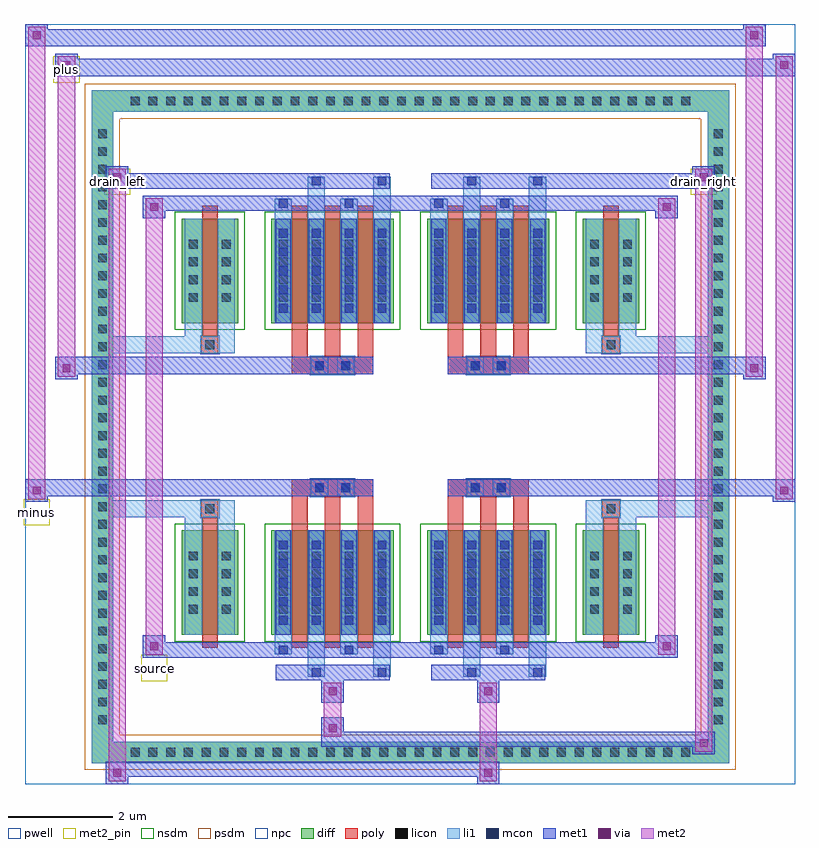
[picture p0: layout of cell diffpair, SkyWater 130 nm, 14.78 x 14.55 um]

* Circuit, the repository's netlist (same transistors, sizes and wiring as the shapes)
* NGSPICE file created from diffpair.ext - technology: sky130A

.subckt diffpair minus drain_right drain_left source plus
X0 drain_right minus source a_n1220_n1288# sky130_fd_pr__nfet_01v8 ad=0.78 pd=4.78 as=0.33 ps=2.33 w=2 l=0.3
X1 drain_right minus source a_n1220_n1288# sky130_fd_pr__nfet_01v8 ad=0.78 pd=4.78 as=0.33 ps=2.33 w=2 l=0.3
X2 a_n1220_n1288# a_n1220_n1288# a_n1220_n1288# a_n1220_n1288# sky130_fd_pr__nfet_01v8 ad=0.78 pd=4.78 as=6.24 ps=38.24 w=2 l=0.3
X3 drain_left plus source a_n1220_n1288# sky130_fd_pr__nfet_01v8 ad=0.78 pd=4.78 as=0.33 ps=2.33 w=2 l=0.3
X4 a_n1220_n1288# a_n1220_n1288# a_n1220_n1288# a_n1220_n1288# sky130_fd_pr__nfet_01v8 ad=0.78 pd=4.78 as=0 ps=0 w=2 l=0.3
X5 drain_left plus source a_n1220_n1288# sky130_fd_pr__nfet_01v8 ad=0.78 pd=4.78 as=0.33 ps=2.33 w=2 l=0.3
X6 a_n1220_n1288# a_n1220_n1288# a_n1220_n1288# a_n1220_n1288# sky130_fd_pr__nfet_01v8 ad=0.78 pd=4.78 as=0 ps=0 w=2 l=0.3
X7 source plus drain_left a_n1220_n1288# sky130_fd_pr__nfet_01v8 ad=0.33 pd=2.33 as=0.33 ps=2.33 w=2 l=0.3
X8 drain_right minus source a_n1220_n1288# sky130_fd_pr__nfet_01v8 ad=0.33 pd=2.33 as=0.78 ps=4.78 w=2 l=0.3
X9 source plus drain_left a_n1220_n1288# sky130_fd_pr__nfet_01v8 ad=0.33 pd=2.33 as=0.33 ps=2.33 w=2 l=0.3
X10 a_n1220_n1288# a_n1220_n1288# a_n1220_n1288# a_n1220_n1288# sky130_fd_pr__nfet_01v8 ad=0.78 pd=4.78 as=0 ps=0 w=2 l=0.3
X11 drain_right minus source a_n1220_n1288# sky130_fd_pr__nfet_01v8 ad=0.33 pd=2.33 as=0.78 ps=4.78 w=2 l=0.3
X12 source minus drain_right a_n1220_n1288# sky130_fd_pr__nfet_01v8 ad=0.33 pd=2.33 as=0.33 ps=2.33 w=2 l=0.3
X13 drain_left plus source a_n1220_n1288# sky130_fd_pr__nfet_01v8 ad=0.33 pd=2.33 as=0.78 ps=4.78 w=2 l=0.3
X14 source minus drain_right a_n1220_n1288# sky130_fd_pr__nfet_01v8 ad=0.33 pd=2.33 as=0.33 ps=2.33 w=2 l=0.3
X15 drain_left plus source a_n1220_n1288# sky130_fd_pr__nfet_01v8 ad=0.33 pd=2.33 as=0.78 ps=4.78 w=2 l=0.3
.ends

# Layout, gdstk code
import gdstk
lib = gdstk.Library(unit=1e-6, precision=5e-09)
def R(c, l, rs):  # rectangles x0, y0, x1, y1
    for r in rs: c.add(gdstk.rectangle(r[:2], r[2:], *l))
def A(c, l, x, y, w, h, nx, ny, dx, dy):  # array of equal rectangles
    R(c, l, [(x+i*dx, y+j*dy, x+i*dx+w, y+j*dy+h) for i in range(nx) for j in range(ny)])
def P(c, l, *ps):  # polygons
    for p in ps: c.add(gdstk.Polygon(p, *l))
pwell = (64, 44)
diff = (65, 20)
poly = (66, 20)
licon = (66, 44)
li1 = (67, 20)
mcon = (67, 44)
met1 = (68, 20)
via = (68, 44)
met2_pin = (69, 16)
met2 = (69, 20)
nsdm = (93, 44)
psdm = (94, 20)
npc = (95, 20)

diffpair = lib.new_cell('diffpair')
R(diffpair, pwell, [(-7.37,-6.84,7.37,7.71), (-4.69,-5.03,-0.01,-0.805), (0.01,-5.03,4.69,-0.805), (-4.69,0.805,-0.01,5.03), (0.01,0.805,4.69,5.03)])
A(diffpair, diff, -5.475, -6.44, 0.41, 0.41, 32, 2, 0.34, 12.47)
A(diffpair, diff, -6.1, -5.815, 0.41, 0.41, 1, 34, 0, 0.34)
A(diffpair, diff, 5.69, -5.815, 0.41, 0.41, 1, 34, 0, 0.34)
R(diffpair, diff, [(-5.475,-6.44,5.475,-6.03), (-6.1,-5.815,-5.69,5.815), (5.69,-5.815,6.1,5.815), (-4.38,-3.985,-3.3,-1.985), (-2.66,-3.985,-0.32,-1.985), (0.32,-3.985,2.66,-1.985), (3.3,-3.985,4.38,-1.985), (-4.38,1.985,-3.3,3.985), (-2.66,1.985,-0.32,3.985), (0.32,1.985,2.66,3.985), (3.3,1.985,4.38,3.985), (-5.475,6.03,5.475,6.44)])
P(diffpair, diff, [(6.1,6.44),(-6.1,6.44),(-6.1,-6.03),(-5.69,-6.03),(-5.69,6.03),(5.69,6.03),(5.69,-6.03),(-5.69,-6.03),(-6.1,-6.03),(-6.1,-6.44),(6.1,-6.44)])
A(diffpair, poly, -2.27, -4.235, 0.3, 2.5, 3, 2, 0.63, 5.97)
A(diffpair, poly, 0.71, -4.235, 0.3, 2.5, 3, 2, 0.63, 5.97)
A(diffpair, poly, -2.27, -1.735, 0.3, 0.4, 3, 2, 0.63, 3.07)
A(diffpair, poly, 0.71, -1.735, 0.3, 0.4, 3, 2, 0.63, 3.07)
R(diffpair, poly, [(-3.99,-4.235,-3.69,-1.735), (3.69,-4.235,3.99,-1.735), (-4.005,-1.735,-3.675,-1.405), (-4.005,-1.735,-3.675,-1.405), (3.675,-1.735,4.005,-1.405), (3.675,-1.735,4.005,-1.405), (-2.27,-1.335,-0.71,-1.005), (-1.905,-1.335,-1.575,-1.005), (-1.405,-1.335,-1.075,-1.005), (0.71,-1.335,2.27,-1.005), (1.075,-1.335,1.405,-1.005), (1.575,-1.335,1.905,-1.005), (-2.27,1.005,-0.71,1.335), (-1.905,1.005,-1.575,1.335), (-1.405,1.005,-1.075,1.335), (0.71,1.005,2.27,1.335), (1.075,1.005,1.405,1.335), (1.575,1.005,1.905,1.335), (-4.005,1.405,-3.675,1.735), (-4.005,1.405,-3.675,1.735), (3.675,1.405,4.005,1.735), (3.675,1.405,4.005,1.735), (-3.99,1.735,-3.69,4.235), (3.69,1.735,3.99,4.235)])
A(diffpair, licon, -5.355, -6.32, 0.17, 0.17, 32, 2, 0.34, 12.47)
A(diffpair, licon, -5.98, -5.695, 0.17, 0.17, 1, 34, 0, 0.34)
A(diffpair, licon, 5.81, -5.695, 0.17, 0.17, 1, 34, 0, 0.34)
A(diffpair, licon, -4.24, -3.58, 0.17, 0.17, 1, 4, 0, 0.34)
A(diffpair, licon, -3.61, -3.58, 0.17, 0.17, 1, 4, 0, 0.34)
A(diffpair, licon, -2.52, -3.58, 0.17, 0.17, 4, 4, 0.63, 0.34)
A(diffpair, licon, 0.46, -3.58, 0.17, 0.17, 4, 4, 0.63, 0.34)
A(diffpair, licon, 3.44, -3.58, 0.17, 0.17, 1, 4, 0, 0.34)
A(diffpair, licon, 4.07, -3.58, 0.17, 0.17, 1, 4, 0, 0.34)
A(diffpair, licon, -4.24, 2.39, 0.17, 0.17, 1, 4, 0, 0.34)
A(diffpair, licon, -3.61, 2.39, 0.17, 0.17, 1, 4, 0, 0.34)
A(diffpair, licon, -2.52, 2.39, 0.17, 0.17, 4, 4, 0.63, 0.34)
A(diffpair, licon, 0.46, 2.39, 0.17, 0.17, 4, 4, 0.63, 0.34)
A(diffpair, licon, 3.44, 2.39, 0.17, 0.17, 1, 4, 0, 0.34)
A(diffpair, licon, 4.07, 2.39, 0.17, 0.17, 1, 4, 0, 0.34)
R(diffpair, licon, [(-3.925,-1.655,-3.755,-1.485), (3.755,-1.655,3.925,-1.485), (-1.825,-1.255,-1.655,-1.085), (-1.325,-1.255,-1.155,-1.085), (1.155,-1.255,1.325,-1.085), (1.655,-1.255,1.825,-1.085), (-1.825,1.085,-1.655,1.255), (-1.325,1.085,-1.155,1.255), (1.155,1.085,1.325,1.255), (1.655,1.085,1.825,1.255), (-3.925,1.485,-3.755,1.655), (3.755,1.485,3.925,1.655)])
A(diffpair, li1, -5.435, -6.4, 0.33, 0.33, 32, 2, 0.34, 12.47)
A(diffpair, li1, -6.06, -5.775, 0.33, 0.33, 1, 34, 0, 0.34)
A(diffpair, li1, 5.73, -5.775, 0.33, 0.33, 1, 34, 0, 0.34)
A(diffpair, li1, -2.6, -3.985, 0.33, 2, 4, 2, 0.63, 5.97)
A(diffpair, li1, 0.38, -3.985, 0.33, 2, 4, 2, 0.63, 5.97)
A(diffpair, li1, -2.52, -3.79, 0.17, 0.17, 4, 5, 0.63, 0.36)
A(diffpair, li1, -2.52, -3.79, 0.17, 1.61, 4, 2, 0.63, 5.97)
A(diffpair, li1, 0.46, -3.79, 0.17, 0.17, 4, 5, 0.63, 0.36)
A(diffpair, li1, 0.46, -3.79, 0.17, 1.61, 4, 2, 0.63, 5.97)
A(diffpair, li1, -4.32, -3.66, 0.33, 0.33, 1, 4, 0, 0.34)
A(diffpair, li1, -3.69, -3.66, 0.33, 0.33, 1, 4, 0, 0.34)
A(diffpair, li1, -2.6, -3.66, 0.33, 0.33, 4, 4, 0.63, 0.34)
A(diffpair, li1, 0.38, -3.66, 0.33, 0.33, 4, 4, 0.63, 0.34)
A(diffpair, li1, 3.36, -3.66, 0.33, 0.33, 1, 4, 0, 0.34)
A(diffpair, li1, 3.99, -3.66, 0.33, 0.33, 1, 4, 0, 0.34)
A(diffpair, li1, -2.52, 2.18, 0.17, 0.17, 4, 5, 0.63, 0.36)
A(diffpair, li1, 0.46, 2.18, 0.17, 0.17, 4, 5, 0.63, 0.36)
A(diffpair, li1, -4.32, 2.31, 0.33, 0.33, 1, 4, 0, 0.34)
A(diffpair, li1, -3.69, 2.31, 0.33, 0.33, 1, 4, 0, 0.34)
A(diffpair, li1, -2.6, 2.31, 0.33, 0.33, 4, 4, 0.63, 0.34)
A(diffpair, li1, 0.38, 2.31, 0.33, 0.33, 4, 4, 0.63, 0.34)
A(diffpair, li1, 3.36, 2.31, 0.33, 0.33, 1, 4, 0, 0.34)
A(diffpair, li1, 3.99, 2.31, 0.33, 0.33, 1, 4, 0, 0.34)
R(diffpair, li1, [(-6.1,-6.44,-5.69,-6.03), (-6.1,-6.44,-5.69,-6.03), (-5.69,-6.44,5.69,-6.03), (5.69,-6.44,6.1,-6.03), (5.69,-6.44,6.1,-6.03), (-6.1,-6.03,-5.69,6.03), (5.69,-6.03,6.1,6.03), (-1.97,-4.79,-1.64,-3.985), (-1.89,-4.79,-1.72,-4.62), (-0.71,-4.79,-0.38,-3.985), (-0.63,-4.79,-0.46,-4.62), (1.01,-4.79,1.34,-3.985), (1.09,-4.79,1.26,-4.62), (2.27,-4.79,2.6,-3.985), (2.35,-4.79,2.52,-4.62), (-2.6,-4.36,-2.27,-3.985), (-2.52,-4.36,-2.35,-4.19), (-1.34,-4.36,-1.01,-3.985), (-1.26,-4.36,-1.09,-4.19), (0.38,-4.36,0.71,-3.985), (0.46,-4.36,0.63,-4.19), (1.64,-4.36,1.97,-3.985), (1.72,-4.36,1.89,-4.19), (-4.32,-3.985,-3.99,-1.985), (-3.69,-3.985,-3.36,-1.985), (3.36,-3.985,3.69,-1.985), (3.99,-3.985,4.32,-1.985), (-4.32,-1.985,-3.99,-1.405), (-3.69,-1.985,-3.36,-1.405), (3.36,-1.985,3.69,-1.405), (3.99,-1.985,4.32,-1.405), (-6.1,-1.735,-4.005,-1.405), (-4.32,-1.735,-4.005,-1.405), (-4.005,-1.735,-3.675,-1.405), (-3.675,-1.735,-3.36,-1.405), (3.36,-1.735,3.675,-1.405), (3.675,-1.735,4.005,-1.405), (3.675,-1.735,6.1,-1.405), (4.005,-1.735,4.32,-1.405), (-1.905,-1.335,-1.575,-1.005), (-1.405,-1.335,-1.075,-1.005), (1.075,-1.335,1.405,-1.005), (1.575,-1.335,1.905,-1.005), (-1.905,1.005,-1.575,1.335), (-1.405,1.005,-1.075,1.335), (1.075,1.005,1.405,1.335), (1.575,1.005,1.905,1.335), (-6.1,1.405,-4.005,1.735), (-4.32,1.405,-4.005,1.735), (-4.32,1.405,-3.99,1.985), (-4.005,1.405,-3.675,1.735), (-3.69,1.405,-3.36,1.985), (-3.675,1.405,-3.36,1.735), (3.36,1.405,3.675,1.735), (3.36,1.405,3.69,1.985), (3.675,1.405,4.005,1.735), (3.675,1.405,6.1,1.735), (3.99,1.405,4.32,1.985), (4.005,1.405,4.32,1.735), (-4.32,1.985,-3.99,3.985), (-3.69,1.985,-3.36,3.985), (3.36,1.985,3.69,3.985), (3.99,1.985,4.32,3.985), (-2.6,3.985,-2.27,4.36), (-1.97,3.985,-1.64,4.79), (-1.34,3.985,-1.01,4.36), (-0.71,3.985,-0.38,4.79), (0.38,3.985,0.71,4.36), (1.01,3.985,1.34,4.79), (1.64,3.985,1.97,4.36), (2.27,3.985,2.6,4.79), (-2.52,4.19,-2.35,4.36), (-1.26,4.19,-1.09,4.36), (0.46,4.19,0.63,4.36), (1.72,4.19,1.89,4.36), (-1.89,4.62,-1.72,4.79), (-0.63,4.62,-0.46,4.79), (1.09,4.62,1.26,4.79), (2.35,4.62,2.52,4.79), (-6.1,6.03,-5.69,6.44), (-6.1,6.03,-5.69,6.44), (-5.69,6.03,5.69,6.44), (5.69,6.03,6.1,6.44), (5.69,6.03,6.1,6.44)])
A(diffpair, mcon, -2.52, -3.79, 0.17, 0.17, 4, 5, 0.63, 0.36)
A(diffpair, mcon, 0.46, -3.79, 0.17, 0.17, 4, 5, 0.63, 0.36)
A(diffpair, mcon, -2.52, 2.18, 0.17, 0.17, 4, 5, 0.63, 0.36)
A(diffpair, mcon, 0.46, 2.18, 0.17, 0.17, 4, 5, 0.63, 0.36)
R(diffpair, mcon, [(-1.89,-4.79,-1.72,-4.62), (-0.63,-4.79,-0.46,-4.62), (1.09,-4.79,1.26,-4.62), (2.35,-4.79,2.52,-4.62), (-2.52,-4.36,-2.35,-4.19), (-1.26,-4.36,-1.09,-4.19), (0.46,-4.36,0.63,-4.19), (1.72,-4.36,1.89,-4.19), (-1.825,-1.255,-1.655,-1.085), (-1.325,-1.255,-1.155,-1.085), (1.155,-1.255,1.325,-1.085), (1.655,-1.255,1.825,-1.085), (-1.825,1.085,-1.655,1.255), (-1.325,1.085,-1.155,1.255), (1.155,1.085,1.325,1.255), (1.655,1.085,1.825,1.255), (-2.52,4.19,-2.35,4.36), (-1.26,4.19,-1.09,4.36), (0.46,4.19,0.63,4.36), (1.72,4.19,1.89,4.36), (-1.89,4.62,-1.72,4.79), (-0.63,4.62,-0.46,4.79), (1.09,4.62,1.26,4.79), (2.35,4.62,2.52,4.79)])
A(diffpair, met1, -2.58, -3.985, 0.29, 2, 4, 2, 0.63, 5.97)
A(diffpair, met1, 0.4, -3.985, 0.29, 2, 4, 2, 0.63, 5.97)
A(diffpair, met1, -2.58, -3.85, 0.29, 0.29, 4, 5, 0.63, 0.36)
A(diffpair, met1, 0.4, -3.85, 0.29, 0.29, 4, 5, 0.63, 0.36)
A(diffpair, met1, -2.58, 2.12, 0.29, 0.29, 4, 5, 0.63, 0.36)
A(diffpair, met1, 0.4, 2.12, 0.29, 0.29, 4, 5, 0.63, 0.36)
R(diffpair, met1, [(-5.83,-6.84,-5.4,-6.41), (1.275,-6.84,1.705,-6.41), (-5.83,-6.7,1.705,-6.41), (5.4,-6.27,5.83,-5.84), (-1.705,-6.13,5.83,-5.84), (-1.705,-5.99,-1.275,-5.56), (-1.705,-5.28,-1.275,-4.85), (1.275,-5.28,1.705,-4.85), (-2.58,-4.85,-0.4,-4.56), (-1.95,-4.85,-1.66,-4.56), (-0.69,-4.85,-0.4,-4.56), (0.4,-4.85,2.58,-4.56), (1.03,-4.85,1.32,-4.56), (2.29,-4.85,2.58,-4.56), (-5.12,-4.42,-4.69,-3.99), (-5.12,-4.42,-2.58,-4.13), (-2.58,-4.42,-2.29,-4.13), (-2.58,-4.42,-0.4,-4.13), (-1.32,-4.42,-1.03,-4.13), (-0.4,-4.42,0.4,-4.13), (0.4,-4.42,0.69,-4.13), (0.4,-4.42,2.58,-4.13), (1.66,-4.42,1.95,-4.13), (2.58,-4.42,5.12,-4.13), (4.69,-4.42,5.12,-3.99), (-7.37,-1.435,-6.94,-1.005), (6.94,-1.435,7.37,-1.005), (-7.37,-1.335,-0.71,-1.005), (-2.27,-1.335,-0.71,-1.005), (0.71,-1.335,2.27,-1.005), (0.71,-1.335,7.37,-1.005), (-1.885,-1.315,-1.595,-1.025), (-1.385,-1.315,-1.095,-1.025), (1.095,-1.315,1.385,-1.025), (1.595,-1.315,1.885,-1.025), (-6.8,0.905,-6.37,1.335), (6.37,0.905,6.8,1.335), (-6.8,1.005,-2.27,1.335), (-2.27,1.005,-0.71,1.335), (0.71,1.005,2.27,1.335), (2.27,1.005,6.8,1.335), (-1.885,1.025,-1.595,1.315), (-1.385,1.025,-1.095,1.315), (1.095,1.025,1.385,1.315), (1.595,1.025,1.885,1.315), (-5.12,3.99,-4.69,4.42), (4.69,3.99,5.12,4.42), (-5.12,4.13,-2.58,4.42), (-2.58,4.13,-2.29,4.42), (-2.58,4.13,-0.4,4.42), (-1.32,4.13,-1.03,4.42), (-0.4,4.13,0.4,4.42), (0.4,4.13,0.69,4.42), (0.4,4.13,2.58,4.42), (1.66,4.13,1.95,4.42), (2.58,4.13,5.12,4.42), (-5.83,4.56,-5.4,4.99), (-5.83,4.56,-2.58,4.85), (-2.58,4.56,-0.4,4.85), (-1.95,4.56,-1.66,4.85), (-0.69,4.56,-0.4,4.85), (0.4,4.56,2.58,4.85), (1.03,4.56,1.32,4.85), (2.29,4.56,2.58,4.85), (2.58,4.56,5.83,4.85), (5.4,4.56,5.83,4.99), (-6.8,6.71,-6.37,7.14), (-6.8,6.71,-4.69,7.04), (-4.69,6.71,4.69,7.04), (4.69,6.71,7.37,7.04), (6.94,6.71,7.37,7.14), (-7.37,7.28,-6.94,7.71), (-7.37,7.28,-4.69,7.61), (-4.69,7.28,4.69,7.61), (4.69,7.28,6.8,7.61), (6.37,7.28,6.8,7.71)])
R(diffpair, via, [(-5.69,-6.7,-5.54,-6.55), (1.415,-6.7,1.565,-6.55), (5.54,-6.13,5.69,-5.98), (-1.565,-5.85,-1.415,-5.7), (-1.565,-5.14,-1.415,-4.99), (1.415,-5.14,1.565,-4.99), (-4.98,-4.28,-4.83,-4.13), (4.83,-4.28,4.98,-4.13), (-7.23,-1.295,-7.08,-1.145), (7.08,-1.295,7.23,-1.145), (-6.66,1.045,-6.51,1.195), (6.51,1.045,6.66,1.195), (-4.98,4.13,-4.83,4.28), (4.83,4.13,4.98,4.28), (-5.69,4.7,-5.54,4.85), (5.54,4.7,5.69,4.85), (-6.66,6.85,-6.51,7), (7.08,6.85,7.23,7), (-7.23,7.42,-7.08,7.57), (6.51,7.42,6.66,7.57)])
R(diffpair, met2_pin, [(-5.155,-4.87,-4.655,-4.37), (-7.405,-1.885,-6.905,-1.385), (-5.865,4.44,-5.365,4.94), (5.365,4.44,5.865,4.94), (-6.835,6.59,-6.335,7.09)])
R(diffpair, met2, [(-5.78,-6.79,-5.45,-6.46), (-5.78,-6.79,-5.45,4.94), (1.325,-6.79,1.655,-6.46), (1.325,-6.46,1.655,-5.23), (5.45,-6.22,5.78,-5.89), (5.45,-6.22,5.78,4.94), (-1.655,-5.94,-1.325,-5.61), (-1.655,-5.61,-1.325,-5.23), (-1.655,-5.23,-1.325,-4.9), (1.325,-5.23,1.655,-4.9), (-5.07,-4.37,-4.74,-4.04), (-5.07,-4.37,-4.74,4.37), (4.74,-4.37,5.07,-4.04), (4.74,-4.37,5.07,4.37), (-7.32,-1.385,-6.99,-1.055), (-7.32,-1.385,-6.99,7.66), (6.99,-1.385,7.32,-1.055), (6.99,-1.385,7.32,7.09), (-6.75,0.955,-6.42,1.285), (-6.75,0.955,-6.42,7.09), (6.42,0.955,6.75,1.285), (6.42,0.955,6.75,7.66), (-5.07,4.04,-4.74,4.37), (4.74,4.04,5.07,4.37), (-5.78,4.61,-5.45,4.94), (5.45,4.61,5.78,4.94), (-6.75,6.76,-6.42,7.09), (6.99,6.76,7.32,7.09), (-7.32,7.33,-6.99,7.66), (6.42,7.33,6.75,7.66)])
P(diffpair, met2, [(7.32,-1.385),(7.32,-1.385),(7.32,-1.055),(7.32,-1.055)],
  [(7.32,6.76),(7.32,6.76),(7.32,7.09),(7.32,7.09)],
  [(-6.99,-1.385),(-6.99,-1.385),(-6.99,-1.055),(-6.99,-1.055)],
  [(-6.99,7.33),(-6.99,7.33),(-6.99,7.66),(-6.99,7.66)],
  [(6.75,0.955),(6.75,0.955),(6.75,1.285),(6.75,1.285)],
  [(6.75,7.33),(6.75,7.33),(6.75,7.66),(6.75,7.66)],
  [(-6.42,0.955),(-6.42,0.955),(-6.42,1.285),(-6.42,1.285)],
  [(-6.42,6.76),(-6.42,6.76),(-6.42,7.09),(-6.42,7.09)],
  [(-5.45,-6.79),(-5.45,-6.79),(-5.45,-6.46),(-5.45,-6.46)],
  [(-5.45,4.61),(-5.45,4.61),(-5.45,4.94),(-5.45,4.94)],
  [(5.78,-6.22),(5.78,-6.22),(5.78,-5.89),(5.78,-5.89)],
  [(5.78,4.61),(5.78,4.61),(5.78,4.94),(5.78,4.94)],
  [(-4.74,-4.37),(-4.74,-4.37),(-4.74,-4.04),(-4.74,-4.04)],
  [(-4.74,4.04),(-4.74,4.04),(-4.74,4.37),(-4.74,4.37)],
  [(5.07,-4.37),(5.07,-4.37),(5.07,-4.04),(5.07,-4.04)],
  [(5.07,4.04),(5.07,4.04),(5.07,4.37),(5.07,4.37)])
R(diffpair, nsdm, [(-4.51,-4.115,-3.17,-1.855), (-2.79,-4.115,-0.19,-1.855), (0.19,-4.115,2.79,-1.855), (3.17,-4.115,4.51,-1.855), (-4.51,1.855,-3.17,4.115), (-2.79,1.855,-0.19,4.115), (0.19,1.855,2.79,4.115), (3.17,1.855,4.51,4.115)])
P(diffpair, psdm, [(6.23,6.57),(-6.23,6.57),(-6.23,-5.9),(-5.56,-5.9),(-5.56,5.9),(5.56,5.9),(5.56,-5.9),(-5.56,-5.9),(-6.23,-5.9),(-6.23,-6.57),(6.23,-6.57)])
R(diffpair, npc, [(-4.025,-1.755,-3.655,-1.385), (3.655,-1.755,4.025,-1.385), (-1.925,-1.355,-1.555,-0.985), (-1.925,-1.355,-1.055,-0.985), (-1.925,-1.355,-1.055,-0.985), (-1.425,-1.355,-1.055,-0.985), (1.055,-1.355,1.425,-0.985), (1.055,-1.355,1.925,-0.985), (1.055,-1.355,1.925,-0.985), (1.555,-1.355,1.925,-0.985), (-1.925,0.985,-1.555,1.355), (-1.925,0.985,-1.055,1.355), (-1.925,0.985,-1.055,1.355), (-1.425,0.985,-1.055,1.355), (1.055,0.985,1.425,1.355), (1.055,0.985,1.925,1.355), (1.055,0.985,1.925,1.355), (1.555,0.985,1.925,1.355), (-4.025,1.385,-3.655,1.755), (3.655,1.385,4.025,1.755)])
diffpair.add(gdstk.Label('minus', (-7.155,-1.635), layer=69, texttype=5))
diffpair.add(gdstk.Label('drain_right', (5.615,4.69), layer=69, texttype=5))
diffpair.add(gdstk.Label('drain_left', (-5.615,4.69), layer=69, texttype=5))
diffpair.add(gdstk.Label('source', (-4.905,-4.62), layer=69, texttype=5))
diffpair.add(gdstk.Label('plus', (-6.585,6.84), layer=69, texttype=5))

lib.write_gds('diffpair.gds')
